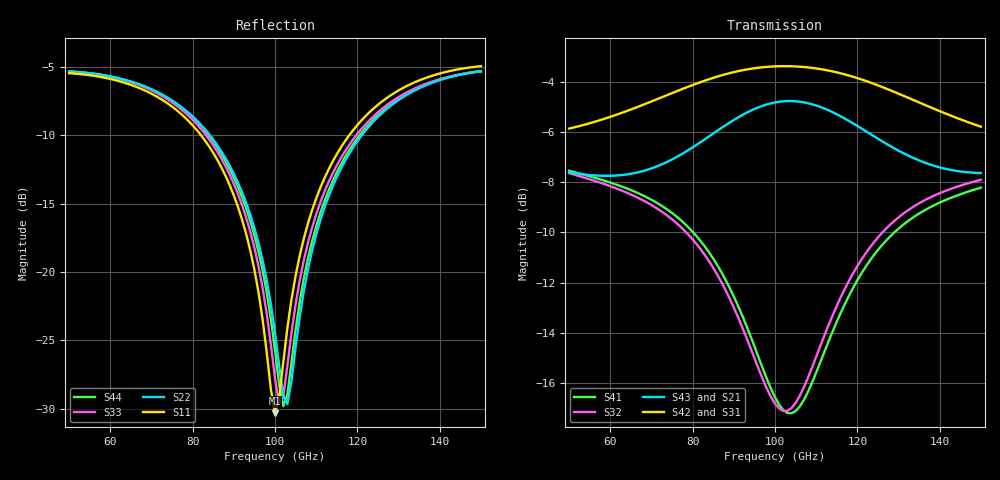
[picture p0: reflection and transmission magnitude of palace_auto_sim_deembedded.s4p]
! Created with skrf 2.0.1 (http://scikit-rf.org).
# GHz S DB R 50.0
!freq dBS11 angS11 dBS12 angS12 dBS13 angS13
! dBS14 angS14
! dBS21 angS21 dBS22 angS22 dBS23 angS23
! dBS24 angS24
! dBS31 angS31 dBS32 angS32 dBS33 angS33
! dBS34 angS34
! dBS41 angS41 dBS42 angS42 dBS43 angS43
! dBS44 angS44
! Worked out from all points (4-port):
!   101 points, 50 GHz to 150 GHz, reference 50 ohm
!   strongest paths, dB at 50 GHz, 75 GHz, 100 GHz, 125 GHz, 150 GHz:
!     S42: -5.9, -4.4, -3.4, -4.1, -5.8
!     S31: -5.8, -4.3, -3.4, -4.3, -6.0
!     S43: -7.6, -7.1, -4.8, -6.3, -7.6
!     S21: -7.5, -7.0, -4.8, -6.4, -8.0
!     S32: -7.6, -9.5, -16.8, -10.2, -7.9
!     S41: -7.5, -9.2, -16.6, -10.7, -8.2
!   lowest |S11| = -30.3 dB at 100 GHz (marker M1), VSWR 1.06, Z = 53.1 + j0.708 ohm
!   |S11| at or under -10 dB: 82.03 GHz to 118 GHz (36.01 GHz wide, 36 % of centre)
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50  -5.47 163.0  -7.50 -46.1  -5.80 -78.7  -7.54 -61.1
    -7.50 -46.1  -5.36 158.9  -7.64 -62.8  -5.85 -80.5
    -5.80 -78.7  -7.64 -62.8  -5.35 158.4  -7.60 -47.6
    -7.54 -61.1  -5.85 -80.5  -7.60 -47.6  -5.36 158.7
85  -11.29 116.8  -5.99 -66.9  -3.73 -142.2  -11.04 -107.0
    -5.99 -66.9  -10.33 111.3  -11.41 -108.5  -3.83 -144.4
    -3.73 -142.2  -11.41 -108.5  -10.74 108.8  -6.05 -68.1
    -11.04 -107.0  -3.83 -144.4  -6.05 -68.1  -10.48 110.3
94  -18.43 93.3  -5.13 -78.6  -3.41 -162.2  -14.12 -113.1
    -5.13 -78.6  -15.82 90.6  -14.59 -112.6  -3.47 -164.4
    -3.41 -162.2  -14.59 -112.6  -17.06 85.7  -5.15 -80.0
    -14.12 -113.1  -3.47 -164.4  -5.15 -80.0  -16.28 88.8
100  -30.32 12.6  -4.82 -88.3  -3.35 -175.9  -16.58 -104.4
     -4.82 -88.3  -24.43 59.0  -16.83 -101.2  -3.37 -178.1
     -3.35 -175.9  -16.83 -101.2  -27.78 35.6  -4.81 -89.9
     -16.58 -104.4  -3.37 -178.1  -4.81 -89.9  -25.73 51.9
103  -24.11 -58.1  -4.77 -93.4  -3.37 177.2  -17.20 -94.5
     -4.77 -93.4  -29.65 -12.0  -17.12 -90.6  -3.37 175.0
     -3.37 177.2  -17.12 -90.6  -26.86 -51.2  -4.76 -95.1
     -17.20 -94.5  -3.37 175.0  -4.76 -95.1  -28.95 -30.4
115  -11.39 -100.3  -5.35 -112.9  -3.72 150.4  -13.56 -71.3
     -5.35 -112.9  -13.06 -105.7  -12.93 -72.5  -3.61 147.6
     -3.72 150.4  -12.93 -72.5  -12.21 -110.0  -5.28 -114.7
     -13.56 -71.3  -3.61 147.6  -5.28 -114.7  -12.72 -107.6
150  -4.96 -147.9  -7.95 -138.7  -5.95 85.1  -8.21 -112.8
     -7.95 -138.7  -5.32 -159.8  -7.90 -118.1  -5.78 79.7
     -5.95 85.1  -7.90 -118.1  -5.33 -161.5  -7.63 -142.7
     -8.21 -112.8  -5.78 79.7  -7.63 -142.7  -5.33 -160.6
